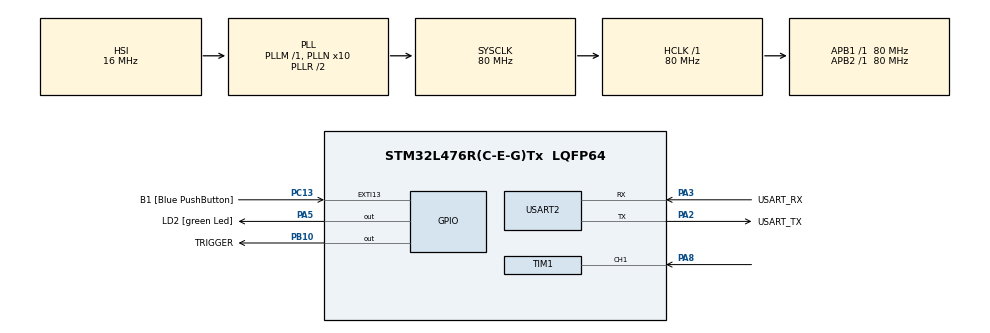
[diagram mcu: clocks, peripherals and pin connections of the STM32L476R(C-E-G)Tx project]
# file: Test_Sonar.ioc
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Mcu.Family=STM32L4
Mcu.Name=STM32L476R(C-E-G)Tx
Mcu.Package=LQFP64
NVIC.PriorityGroup=NVIC_PRIORITYGROUP_4
NVIC.TIM1_CC_IRQn=true\:0\:0\:false\:false\:true\:true\:true\:true
NVIC.TIM6_DAC_IRQn=true\:0\:0\:false\:false\:true\:true\:true\:true
PA13\ (JTMS-SWDIO).GPIO_Label=TMS
PA13\ (JTMS-SWDIO).Mode=Serial_Wire
PA13\ (JTMS-SWDIO).Signal=SYS_JTMS-SWDIO
PA14\ (JTCK-SWCLK).GPIO_Label=TCK
PA14\ (JTCK-SWCLK).Mode=Serial_Wire
PA14\ (JTCK-SWCLK).Signal=SYS_JTCK-SWCLK
PA2.GPIO_Label=USART_TX
PA2.GPIO_Mode=GPIO_MODE_AF_PP
PA2.GPIO_PuPd=GPIO_NOPULL
PA2.GPIO_Speed=GPIO_SPEED_FREQ_VERY_HIGH
PA2.Mode=Asynchronous
PA2.Signal=USART2_TX
PA3.GPIO_Label=USART_RX
PA3.GPIO_Mode=GPIO_MODE_AF_PP
PA3.GPIO_PuPd=GPIO_NOPULL
PA3.GPIO_Speed=GPIO_SPEED_FREQ_VERY_HIGH
PA3.Mode=Asynchronous
PA3.Signal=USART2_RX
PA5.GPIO_Label=LD2 [green Led]
PA5.GPIO_ModeDefaultOutputPP=GPIO_MODE_OUTPUT_PP
PA5.GPIO_PuPd=GPIO_NOPULL
PA5.GPIO_Speed=GPIO_SPEED_FREQ_LOW
PA5.Signal=GPIO_Output
PA8.Signal=S_TIM1_CH1
PB10.GPIO_Label=TRIGGER
PB10.Signal=GPIO_Output
PB3\ (JTDO-TRACESWO).GPIO_Label=SWO
PB3\ (JTDO-TRACESWO).Signal=SYS_JTDO-SWO
PC13.GPIO_Label=B1 [Blue PushButton]
PC13.GPIO_ModeDefaultEXTI=GPIO_MODE_IT_FALLING
PC13.GPIO_PuPd=GPIO_NOPULL
PC13.Signal=GPXTI13
PC14-OSC32_IN\ (PC14).Mode=LSE-External-Oscillator
PC14-OSC32_IN\ (PC14).Signal=RCC_OSC32_IN
PC15-OSC32_OUT\ (PC15).Mode=LSE-External-Oscillator
PC15-OSC32_OUT\ (PC15).Signal=RCC_OSC32_OUT
PH0-OSC_IN\ (PH0).Signal=RCC_OSC_IN
PH1-OSC_OUT\ (PH1).Signal=RCC_OSC_OUT
ProjectManager.HeapSize=0x200
ProjectManager.StackSize=0x400
ProjectManager.TargetToolchain=STM32CubeIDE
RCC.ADCFreq_Value=64000000
RCC.AHBFreq_Value=80000000
RCC.APB1Freq_Value=80000000
RCC.APB1TimFreq_Value=80000000
RCC.APB2Freq_Value=80000000
RCC.APB2TimFreq_Value=80000000
RCC.CortexFreq_Value=80000000
RCC.HCLKFreq_Value=80000000
RCC.HSE_VALUE=8000000
RCC.HSI_VALUE=16000000
RCC.MSI_VALUE=4000000
RCC.PLLN=10
RCC.PLLSourceVirtual=RCC_PLLSOURCE_HSI
RCC.PREFETCH_ENABLE=1
RCC.SYSCLKFreq_VALUE=80000000
RCC.SYSCLKSource=RCC_SYSCLKSOURCE_PLLCLK
RCC.USBFreq_Value=64000000
RCC.VCOOutputFreq_Value=160000000
SH.S_TIM1_CH1.0=TIM1_CH1,PWM_Input_1
TIM1.Prescaler=46-1
TIM6.Prescaler=122-1
USART2.VirtualMode-Asynchronous=VM_ASYNC
VP_TIM6_VS_ClockSourceINT.Mode=Enable_Timer
board=NUCLEO-L476RG

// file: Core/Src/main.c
/* USER CODE BEGIN Header */
/**
  ******************************************************************************
  * @file           : main.c
  * @brief          : Main program body
  ******************************************************************************
  * @attention
  *
  * Copyright (c) 2024 STMicroelectronics.
  * All rights reserved.
  *
  * This software is licensed under terms that can be found in the LICENSE file
  * in the root directory of this software component.
  * If no LICENSE file comes with this software, it is provided AS-IS.
  *
  ******************************************************************************
  */
/* USER CODE END Header */
#include "main.h"

/* USER CODE BEGIN Includes */
#include <string.h>
#include <stdio.h>
/* USER CODE END Includes */

/* USER CODE BEGIN PD */
#define _100_MS 100
/* USER CODE END PD */

TIM_HandleTypeDef htim1;
TIM_HandleTypeDef htim6;

UART_HandleTypeDef huart2;

void SystemClock_Config(void);
static void MX_GPIO_Init(void);
static void MX_USART2_UART_Init(void);
static void MX_TIM1_Init(void);
static void MX_TIM6_Init(void);
/* USER CODE BEGIN PFP */
volatile int time_count =0;
volatile int TOP_sonar =0;
volatile int distance =0;
/* USER CODE END PFP */

int main(void)
{

  /* MCU Configuration--------------------------------------------------------*/

  /* Reset of all peripherals, Initializes the Flash interface and the Systick. */
  HAL_Init();

  /* Configure the system clock */
  SystemClock_Config();

  /* Initialize all configured peripherals */
  MX_GPIO_Init();
  MX_USART2_UART_Init();
  MX_TIM1_Init();
  MX_TIM6_Init();
  /* USER CODE BEGIN 2 */
  HAL_TIM_IC_Start_IT(&htim1, TIM_CHANNEL_1);
  HAL_TIM_IC_Start_IT(&htim1, TIM_CHANNEL_2);
  HAL_TIM_Base_Start_IT(&htim6);
  /* USER CODE END 2 */

  /* Infinite loop */
  /* USER CODE BEGIN WHILE */
  while (1)
  {
    /* - - SONAR - - */
	HAL_GPIO_WritePin(TRIGGER_GPIO_Port, TRIGGER_Pin, GPIO_PIN_SET);
	char msg_data[200];
	sprintf(msg_data,"TRIGGER  \r\n");
	HAL_UART_Transmit(&huart2, (uint8_t*) msg_data, strlen(msg_data), HAL_MAX_DELAY);
	HAL_Delay(1000);
	HAL_GPIO_WritePin(TRIGGER_GPIO_Port, TRIGGER_Pin, GPIO_PIN_RESET);
	HAL_Delay(1000);

    /* USER CODE END WHILE */

  }
}

void SystemClock_Config(void)
{
  RCC_OscInitTypeDef RCC_OscInitStruct = {0};
  RCC_ClkInitTypeDef RCC_ClkInitStruct = {0};

  /** Configure the main internal regulator output voltage
  */
  if (HAL_PWREx_ControlVoltageScaling(PWR_REGULATOR_VOLTAGE_SCALE1) != HAL_OK)
  {
    Error_Handler();
  }

  /** Initializes the RCC Oscillators according to the specified parameters
  * in the RCC_OscInitTypeDef structure.
  */
  RCC_OscInitStruct.OscillatorType = RCC_OSCILLATORTYPE_HSI;
  RCC_OscInitStruct.HSIState = RCC_HSI_ON;
  RCC_OscInitStruct.HSICalibrationValue = RCC_HSICALIBRATION_DEFAULT;
  RCC_OscInitStruct.PLL.PLLState = RCC_PLL_ON;
  RCC_OscInitStruct.PLL.PLLSource = RCC_PLLSOURCE_HSI;
  RCC_OscInitStruct.PLL.PLLM = 1;
  RCC_OscInitStruct.PLL.PLLN = 10;
  RCC_OscInitStruct.PLL.PLLP = RCC_PLLP_DIV7;
  RCC_OscInitStruct.PLL.PLLQ = RCC_PLLQ_DIV2;
  RCC_OscInitStruct.PLL.PLLR = RCC_PLLR_DIV2;
  if (HAL_RCC_OscConfig(&RCC_OscInitStruct) != HAL_OK)
  {
    Error_Handler();
  }

  /** Initializes the CPU, AHB and APB buses clocks
  */
  RCC_ClkInitStruct.ClockType = RCC_CLOCKTYPE_HCLK|RCC_CLOCKTYPE_SYSCLK
                              |RCC_CLOCKTYPE_PCLK1|RCC_CLOCKTYPE_PCLK2;
  RCC_ClkInitStruct.SYSCLKSource = RCC_SYSCLKSOURCE_PLLCLK;
  RCC_ClkInitStruct.AHBCLKDivider = RCC_SYSCLK_DIV1;
  RCC_ClkInitStruct.APB1CLKDivider = RCC_HCLK_DIV1;
  RCC_ClkInitStruct.APB2CLKDivider = RCC_HCLK_DIV1;

  if (HAL_RCC_ClockConfig(&RCC_ClkInitStruct, FLASH_LATENCY_4) != HAL_OK)
  {
    Error_Handler();
  }
}

static void MX_TIM1_Init(void)
{

  TIM_SlaveConfigTypeDef sSlaveConfig = {0};
  TIM_IC_InitTypeDef sConfigIC = {0};
  TIM_MasterConfigTypeDef sMasterConfig = {0};

  htim1.Instance = TIM1;
  htim1.Init.Prescaler = 46-1;
  htim1.Init.CounterMode = TIM_COUNTERMODE_UP;
  htim1.Init.Period = 65535;
  htim1.Init.ClockDivision = TIM_CLOCKDIVISION_DIV1;
  htim1.Init.RepetitionCounter = 0;
  htim1.Init.AutoReloadPreload = TIM_AUTORELOAD_PRELOAD_DISABLE;
  if (HAL_TIM_IC_Init(&htim1) != HAL_OK)
  {
    Error_Handler();
  }
  sSlaveConfig.SlaveMode = TIM_SLAVEMODE_RESET;
  sSlaveConfig.InputTrigger = TIM_TS_TI1FP1;
  sSlaveConfig.TriggerPolarity = TIM_INPUTCHANNELPOLARITY_RISING;
  sSlaveConfig.TriggerPrescaler = TIM_ICPSC_DIV1;
  sSlaveConfig.TriggerFilter = 0;
  if (HAL_TIM_SlaveConfigSynchro(&htim1, &sSlaveConfig) != HAL_OK)
  {
    Error_Handler();
  }
  sConfigIC.ICPolarity = TIM_INPUTCHANNELPOLARITY_RISING;
  sConfigIC.ICSelection = TIM_ICSELECTION_DIRECTTI;
  sConfigIC.ICPrescaler = TIM_ICPSC_DIV1;
  sConfigIC.ICFilter = 0;
  if (HAL_TIM_IC_ConfigChannel(&htim1, &sConfigIC, TIM_CHANNEL_1) != HAL_OK)
  {
    Error_Handler();
  }
  sConfigIC.ICPolarity = TIM_INPUTCHANNELPOLARITY_FALLING;
  sConfigIC.ICSelection = TIM_ICSELECTION_INDIRECTTI;
  if (HAL_TIM_IC_ConfigChannel(&htim1, &sConfigIC, TIM_CHANNEL_2) != HAL_OK)
  {
    Error_Handler();
  }
  sMasterConfig.MasterOutputTrigger = TIM_TRGO_RESET;
  sMasterConfig.MasterOutputTrigger2 = TIM_TRGO2_RESET;
  sMasterConfig.MasterSlaveMode = TIM_MASTERSLAVEMODE_DISABLE;
  if (HAL_TIMEx_MasterConfigSynchronization(&htim1, &sMasterConfig) != HAL_OK)
  {
    Error_Handler();
  }

}

static void MX_TIM6_Init(void)
{

  TIM_MasterConfigTypeDef sMasterConfig = {0};

  htim6.Instance = TIM6;
  htim6.Init.Prescaler = 122-1;
  htim6.Init.CounterMode = TIM_COUNTERMODE_UP;
  htim6.Init.Period = 65535;
  htim6.Init.AutoReloadPreload = TIM_AUTORELOAD_PRELOAD_DISABLE;
  if (HAL_TIM_Base_Init(&htim6) != HAL_OK)
  {
    Error_Handler();
  }
  sMasterConfig.MasterOutputTrigger = TIM_TRGO_RESET;
  sMasterConfig.MasterSlaveMode = TIM_MASTERSLAVEMODE_DISABLE;
  if (HAL_TIMEx_MasterConfigSynchronization(&htim6, &sMasterConfig) != HAL_OK)
  {
    Error_Handler();
  }

}

static void MX_USART2_UART_Init(void)
{

  huart2.Instance = USART2;
  huart2.Init.BaudRate = 115200;
  huart2.Init.WordLength = UART_WORDLENGTH_8B;
  huart2.Init.StopBits = UART_STOPBITS_1;
  huart2.Init.Parity = UART_PARITY_NONE;
  huart2.Init.Mode = UART_MODE_TX_RX;
  huart2.Init.HwFlowCtl = UART_HWCONTROL_NONE;
  huart2.Init.OverSampling = UART_OVERSAMPLING_16;
  huart2.Init.OneBitSampling = UART_ONE_BIT_SAMPLE_DISABLE;
  huart2.AdvancedInit.AdvFeatureInit = UART_ADVFEATURE_NO_INIT;
  if (HAL_UART_Init(&huart2) != HAL_OK)
  {
    Error_Handler();
  }

}

static void MX_GPIO_Init(void)
{
  GPIO_InitTypeDef GPIO_InitStruct = {0};

  /* GPIO Ports Clock Enable */
  __HAL_RCC_GPIOC_CLK_ENABLE();
  __HAL_RCC_GPIOH_CLK_ENABLE();
  __HAL_RCC_GPIOA_CLK_ENABLE();
  __HAL_RCC_GPIOB_CLK_ENABLE();

  /*Configure GPIO pin Output Level */
  HAL_GPIO_WritePin(LD2_GPIO_Port, LD2_Pin, GPIO_PIN_RESET);

  /*Configure GPIO pin Output Level */
  HAL_GPIO_WritePin(TRIGGER_GPIO_Port, TRIGGER_Pin, GPIO_PIN_RESET);

  /*Configure GPIO pin : B1_Pin */
  GPIO_InitStruct.Pin = B1_Pin;
  GPIO_InitStruct.Mode = GPIO_MODE_IT_FALLING;
  GPIO_InitStruct.Pull = GPIO_NOPULL;
  HAL_GPIO_Init(B1_GPIO_Port, &GPIO_InitStruct);

  /*Configure GPIO pin : LD2_Pin */
  GPIO_InitStruct.Pin = LD2_Pin;
  GPIO_InitStruct.Mode = GPIO_MODE_OUTPUT_PP;
  GPIO_InitStruct.Pull = GPIO_NOPULL;
  GPIO_InitStruct.Speed = GPIO_SPEED_FREQ_LOW;
  HAL_GPIO_Init(LD2_GPIO_Port, &GPIO_InitStruct);

  /*Configure GPIO pin : TRIGGER_Pin */
  GPIO_InitStruct.Pin = TRIGGER_Pin;
  GPIO_InitStruct.Mode = GPIO_MODE_OUTPUT_PP;
  GPIO_InitStruct.Pull = GPIO_NOPULL;
  GPIO_InitStruct.Speed = GPIO_SPEED_FREQ_LOW;
  HAL_GPIO_Init(TRIGGER_GPIO_Port, &GPIO_InitStruct);

}

/* USER CODE BEGIN 4 */
void HAL_TIM_IC_CaptureCallback(TIM_HandleTypeDef *htim)
{
	if(htim -> Instance == TIM1)
	{
		if(htim->Channel == HAL_TIM_ACTIVE_CHANNEL_1)
		{

		}

		if(htim->Channel == HAL_TIM_ACTIVE_CHANNEL_2)
		{
			TOP_sonar = TIM1->CNT;
			distance = TOP_sonar/101;
			char msg_data[200];
			sprintf(msg_data,"TOP : %d top | Distance : %d cm \n\r",TOP_sonar, distance);
			HAL_UART_Transmit(&huart2, (uint8_t*) msg_data, strlen(msg_data), HAL_MAX_DELAY);
		}
	}
}

void HAL_TIM_PeriodElapsedCallback(TIM_HandleTypeDef *htim)
{
	if(htim -> Instance == TIM6)
	{
		time_count++;
	}
}
/* USER CODE END 4 */

void Error_Handler(void)
{
  __disable_irq();
  while (1)
  {
  }
}
